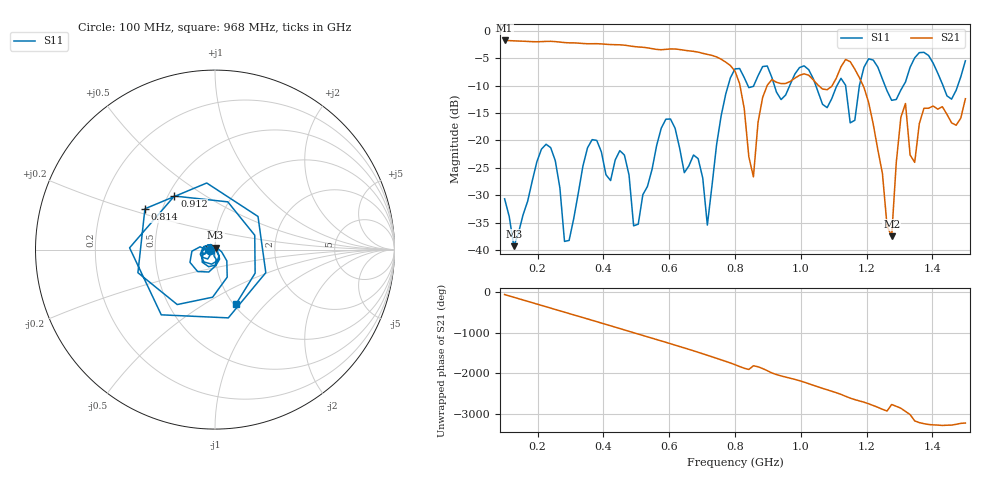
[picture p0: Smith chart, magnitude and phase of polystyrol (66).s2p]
! NanoVNA-App
! Date: 2025-09-26 09:42:24
! Start: 100MHz Stop: 1,5GHz Points: 101
! S-Parameter data: F S11 S21 S12 S22
# Hz S RI R 50
!  Frequency  S11_Real  S11_Imag  S21_Real  S21_Imag  S12_Real  S12_Imag  S22_Real  S22_Imag
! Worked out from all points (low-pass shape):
!   101 points, 100 MHz to 1.5 GHz, reference 50 ohm
!   highest |S21| = -1.79 dB at 100 MHz (marker M1); lowest = -37.5 dB at 1.276 GHz (marker M2)
!   |S21| within 3 dB of the highest: start of sweep to 743.8 MHz
!   lowest |S11| = -39.3 dB at 128 MHz (marker M3), VSWR 1.02, Z = 50.3 + j1.05 ohm
!   |S11| at or under -10 dB: start of sweep to 779.3 MHz; 1.045 GHz to 1.11 GHz (64.57 MHz wide, 5.99 % of centre); 1.256 GHz to 1.312 GHz (56.17 MHz wide, 4.38 % of centre)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
!   S12 and S22 are empty: the file has one direction only
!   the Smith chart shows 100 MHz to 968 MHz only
!   S11 on the Smith chart (normalised r, x): 100 MHz: 0.94, -0.01; 814 MHz: 0.40, +0.23; 912 MHz: 0.54, +0.37; 968 MHz: 1.03, -0.70
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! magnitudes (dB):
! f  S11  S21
! 100 MHz  -30.7  -1.8
! 128 MHz  -39.3  -1.9
! 212 MHz  -21.6  -2.0
! 254 MHz  -23.7  -2.0
! 282 MHz  -38.4  -2.2
! 338 MHz  -24.7  -2.3
! 464 MHz  -22.7  -2.6
! 506 MHz  -35.3  -3.0
! 576 MHz  -17.8  -3.5
! 688 MHz  -23.3  -3.9
! 716 MHz  -35.4  -4.3
! 800 MHz  -7.0  -7.4
! 814 MHz  -6.9  -9.7
! 856 MHz  -10.1  -26.7
! 912 MHz  -8.5  -8.9
! 968 MHz  -9.8  -9.3
! 1.038 GHz  -8.8  -9.0
! 1.178 GHz  -10.0  -8.6
! 1.276 GHz  -12.7  -37.5
! 1.318 GHz  -9.4  -13.3
! 1.346 GHz  -4.9  -24.0
! 1.5 GHz  -5.5  -12.4
